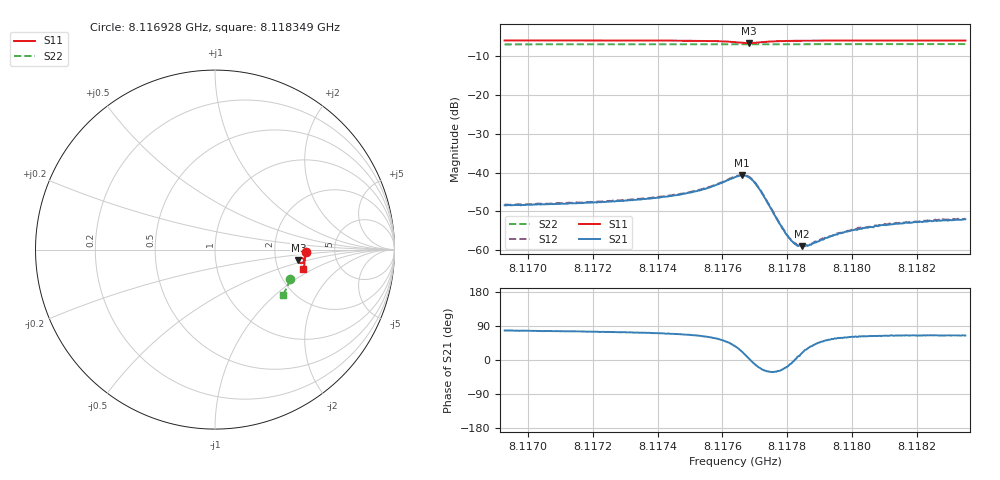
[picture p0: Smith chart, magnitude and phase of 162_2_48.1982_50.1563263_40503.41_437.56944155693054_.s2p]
#  HZ  S  RI  R  50.00
! Rohde & Schwarz Vector Network Analyzer
! Rohde-Schwarz,ZNB20-2Port,1311601062101988,3.16
! Created: UTC 3/20/2024, 11:43:16 AM
! freq[Hz]  re:S11  im:S11  re:S21  im:S21  re:S12  im:S12  re:S22  im:S22
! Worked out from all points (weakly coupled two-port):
!   401 points, 8.116928 GHz to 8.118349 GHz, reference 50 ohm
!   highest |S21| = -40.72 dB at 8.11766 GHz (marker M1); lowest = -59.0 dB at 8.117845 GHz (marker M2)
!   lowest |S11| = -6.6 dB at 8.117682 GHz (marker M3), VSWR 2.76, Z = 135 - j20.2 ohm
!   |S11| at or under -10 dB: nowhere
!   |S22| runs from -6.9 to -6.8 dB; largest |S21 - S12| = 0.00023
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8.1169284e9  0.5061 -0.0114  0.000802 0.00371  0.000872 0.00381  0.4193 -0.1647
8.1171664e9  0.505 -0.0304  0.00103 0.00392  0.0011 0.00398  0.4137 -0.1802
8.1173014e9  0.5035 -0.0417  0.00125 0.0042  0.00134 0.00424  0.4102 -0.1889
8.1174044e9  0.5017 -0.0512  0.00159 0.00447  0.00168 0.00459  0.4074 -0.1958
8.1175252e9  0.4973 -0.0642  0.00253 0.00531  0.00261 0.00536  0.4036 -0.2035
8.1175749e9  0.4923 -0.0706  0.0036 0.00575  0.00374 0.00578  0.402 -0.2068
8.1176389e9  0.4758 -0.0754  0.00704 0.00521  0.00723 0.00525  0.3996 -0.2107
8.1176602e9  0.4676 -0.0699  0.00853 0.00346  0.0087 0.00345  0.3984 -0.2115
8.1176815e9  0.4645 -0.0585  0.00869 0.000613  0.00889 0.000552  0.3978 -0.2123
8.1176993e9  0.4694 -0.0497  0.00733 -0.0014  0.00745 -0.00146  0.3976 -0.2129
8.1177171e9  0.4772 -0.0458  0.00546 -0.0022  0.00551 -0.00231  0.3975 -0.214
8.1177774e9  0.4937 -0.0533  0.0019 -0.00103  0.00195 -0.00103  0.3964 -0.2181
8.1178023e9  0.4961 -0.0576  0.00143 -0.000419  0.00147 -0.000435  0.3958 -0.2198
8.1178272e9  0.4973 -0.0614  0.00118 6.64e-05  0.00121 6.97e-05  0.395 -0.2215
8.1178449e9  0.498 -0.0639  0.00107 0.000345  0.0011 0.000326  0.3945 -0.2227
8.1178592e9  0.4983 -0.0657  0.00103 0.000542  0.00102 0.00054  0.394 -0.2236
8.1178769e9  0.4984 -0.068  0.000974 0.000731  0.000976 0.00074  0.3935 -0.2248
8.1179515e9  0.4984 -0.0761  0.000879 0.00133  0.000929 0.00137  0.391 -0.2295
8.1180261e9  0.4977 -0.0831  0.000889 0.00167  0.000936 0.00172  0.3886 -0.2342
8.1181149e9  0.4966 -0.0907  0.000924 0.00192  0.000971 0.00199  0.3856 -0.2396
8.1182642e9  0.4943 -0.1027  0.00102 0.00217  0.00104 0.00222  0.3803 -0.2486
8.1183494e9  0.493 -0.1093  0.00108 0.00227  0.0011 0.00232  0.3771 -0.2539
